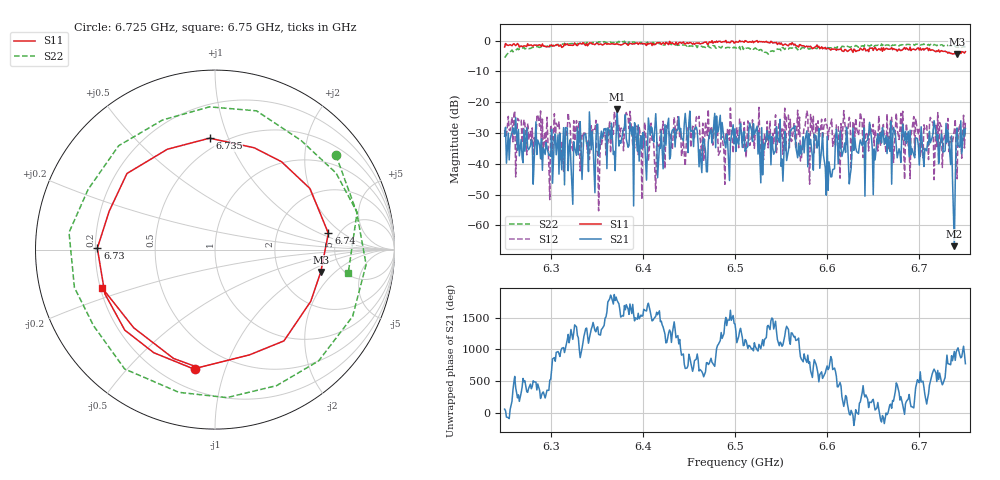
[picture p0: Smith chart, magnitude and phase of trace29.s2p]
# Hz S RI R 50
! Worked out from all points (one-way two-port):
!   401 points, 6.25 GHz to 6.75 GHz, reference 50 ohm
!   highest |S21| = -22.33 dB at 6.372 GHz (marker M1); lowest = -66.7 dB at 6.738 GHz (marker M2)
!   lowest |S11| = -4.4 dB at 6.741 GHz (marker M3), VSWR 4.03, Z = 173 - j67.4 ohm
!   |S11| at or under -10 dB: nowhere
!   |S22| runs from -5.5 to -0.1 dB; largest |S21 - S12| = 0.12
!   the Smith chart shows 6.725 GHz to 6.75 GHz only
!   S11 on the Smith chart (normalised r, x): 6.725 GHz: 0.32, -0.79; 6.73 GHz: 0.21, +0.01; 6.735 GHz: 0.42, +0.86; 6.74 GHz: 4.12, +1.26; 6.75 GHz: 0.21, -0.16
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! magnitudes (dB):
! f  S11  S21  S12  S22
! 6.25 GHz  -2.1  -31.0  -29.0  -5.5
! 6.286 GHz  -1.5  -32.3  -24.0  -2.0
! 6.3 GHz  -1.5  -37.6  -27.4  -1.7
! 6.306 GHz  -1.3  -37.0  -26.8  -1.5
! 6.321 GHz  -1.5  -32.2  -27.1  -1.1
! 6.334 GHz  -1.1  -45.0  -30.7  -1.0
! 6.346 GHz  -1.0  -33.8  -28.3  -0.6
! 6.352 GHz  -1.3  -37.5  -55.2  -0.4
! 6.372 GHz  -1.1  -22.3  -29.2  -0.8
! 6.418 GHz  -0.6  -34.3  -35.2  -1.0
! 6.5 GHz  -0.7  -28.6  -29.7  -2.3
! 6.584 GHz  -2.6  -37.6  -29.9  -2.3
! 6.604 GHz  -3.1  -44.2  -26.8  -2.3
! 6.611 GHz  -2.8  -31.5  -27.3  -1.9
! 6.668 GHz  -2.8  -35.9  -29.0  -1.6
! 6.725 GHz  -3.4  -32.1  -41.2  -1.4
! 6.73 GHz  -3.7  -33.0  -29.7  -1.4
! 6.735 GHz  -4.1  -30.9  -33.1  -1.6
! 6.738 GHz  -4.2  -66.7  -28.9  -1.8
! 6.74 GHz  -3.9  -30.7  -37.5  -2.1
! 6.741 GHz  -4.4  -28.3  -44.8  -2.1
! 6.75 GHz  -3.6  -28.5  -26.1  -2.5
